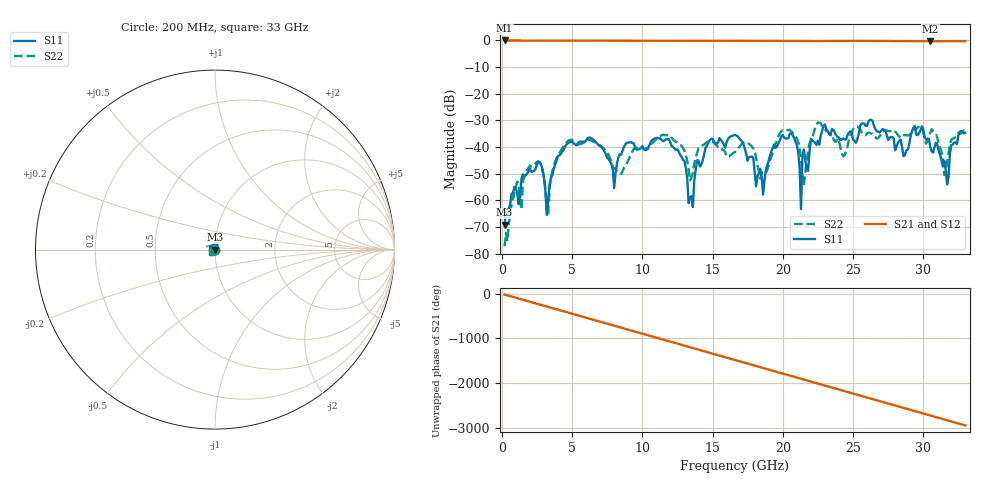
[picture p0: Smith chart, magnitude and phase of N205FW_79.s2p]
# GHZ S RI R 50
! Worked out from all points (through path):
!   329 points, 200 MHz to 33 GHz, reference 50 ohm
!   highest |S21| = -0.02 dB at 200 MHz (marker M1); lowest = -0.3 dB at 30.5 GHz (marker M2)
!   group delay of S21, straight-line fit = 248 ps
!   lowest |S11| = -69.1 dB at 200 MHz (marker M3), VSWR 1.00, Z = 50 - j0.000542 ohm
!   |S11| at or under -10 dB: start of sweep to end of sweep
!   |S22| runs from -77.2 to -30.8 dB; largest |S21 - S12| = 0.0022
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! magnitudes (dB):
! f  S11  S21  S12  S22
! 200 MHz  -69.1  0.0  0.0  -77.2
! 1.1 GHz  -57.3  0.0  0.0  -53.0
! 1.4 GHz  -51.8  -0.1  -0.1  -63.5
! 2.7 GHz  -45.6  -0.1  -0.1  -45.8
! 3.3 GHz  -59.7  -0.1  -0.1  -65.9
! 4 GHz  -43.3  -0.1  -0.1  -42.9
! 5.7 GHz  -38.0  -0.1  -0.1  -38.7
! 8 GHz  -55.4  -0.1  -0.1  -48.0
! 11.2 GHz  -36.7  -0.2  -0.2  -36.0
! 13.6 GHz  -62.5  -0.2  -0.2  -49.6
! 13.9 GHz  -44.9  -0.2  -0.2  -42.3
! 16.6 GHz  -35.4  -0.1  -0.1  -41.9
! 18.6 GHz  -57.8  -0.2  -0.2  -49.4
! 20.7 GHz  -35.4  -0.2  -0.2  -34.6
! 21.1 GHz  -41.8  -0.2  -0.2  -38.2
! 21.3 GHz  -63.3  -0.2  -0.2  -43.8
! 21.4 GHz  -43.7  -0.2  -0.2  -50.8
! 22.1 GHz  -37.4  -0.2  -0.2  -36.8
! 27.6 GHz  -36.5  -0.2  -0.2  -34.0
! 30.5 GHz  -40.0  -0.3  -0.3  -34.6
! 31.7 GHz  -54.0  -0.3  -0.3  -45.3
! 33 GHz  -34.7  -0.3  -0.3  -33.8
